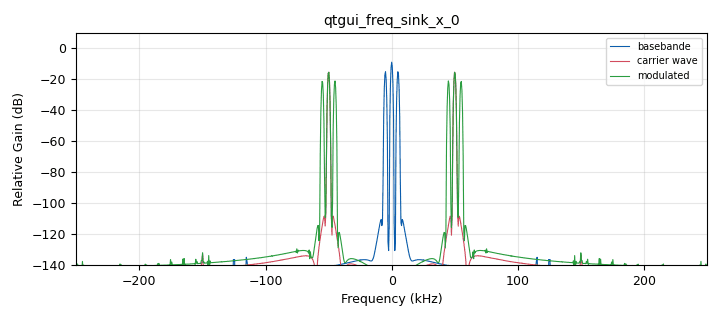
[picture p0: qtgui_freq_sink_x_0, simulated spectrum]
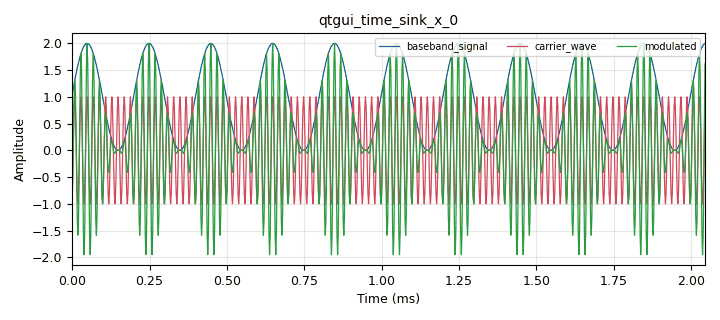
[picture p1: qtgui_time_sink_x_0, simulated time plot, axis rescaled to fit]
options:
  parameters:
    author: wcc
    generate_options: qt_gui
    id: lab1_am_dsb_tc
    output_language: python
    title: lab1_am_dsb_tc
  states: {}

blocks:
- name: bband_freq
  id: variable_qtgui_range
  parameters:
    label: baseband frequency
    orient: Qt.Horizontal
    start: '0'
    step: '1'
    stop: 15e3
    value: 5e3
  states: {}
- name: carrier_freq
  id: variable_qtgui_range
  parameters:
    label: carrier frequency
    orient: Qt.Horizontal
    rangeType: int
    start: '50000'
    step: '1'
    stop: '80000'
    value: '50000'
  states: {}
- name: samp_rate
  id: variable
  parameters:
    value: 500e3
  states: {}
- name: analog_sig_source_x_0
  id: analog_sig_source_x
  parameters:
    amp: '1'
    freq: bband_freq
    offset: '0'
    phase: '0'
    samp_rate: samp_rate
    type: float
    waveform: analog.GR_COS_WAVE
  states: {}
- name: analog_sig_source_x_1
  id: analog_sig_source_x
  parameters:
    amp: '1'
    freq: carrier_freq
    offset: '0'
    phase: '0'
    samp_rate: samp_rate
    type: float
    waveform: analog.GR_COS_WAVE
  states: {}
- name: blocks_add_const_vxx_0
  id: blocks_add_const_vxx
  parameters:
    const: '1'
    type: float
  states: {}
- name: blocks_multiply_xx_0
  id: blocks_multiply_xx
  parameters:
    type: float
  states: {}
- name: blocks_throttle_0
  id: blocks_throttle
  parameters:
    samples_per_second: samp_rate
    type: float
  states: {}
- name: qtgui_freq_sink_x_0
  id: qtgui_freq_sink_x
  parameters:
    bw: samp_rate
    fc: '0'
    fftsize: '1024'
    label1: basebande
    label2: carrier wave
    label3: modulated
    nconnections: '3'
    type: float
    wintype: firdes.WIN_BLACKMAN_hARRIS
  states: {}
- name: qtgui_time_sink_x_0
  id: qtgui_time_sink_x
  parameters:
    color2: green
    color3: black
    label1: baseband_signal
    label2: carrier_wave
    label3: modulated
    nconnections: '3'
    size: '1024'
    srate: samp_rate
    style2: '2'
    type: float
  states: {}

connections:
- [analog_sig_source_x_0, '0', blocks_add_const_vxx_0, '0']
- [analog_sig_source_x_1, '0', blocks_multiply_xx_0, '1']
- [analog_sig_source_x_1, '0', qtgui_freq_sink_x_0, '1']
- [analog_sig_source_x_1, '0', qtgui_time_sink_x_0, '1']
- [blocks_add_const_vxx_0, '0', blocks_multiply_xx_0, '0']
- [blocks_add_const_vxx_0, '0', qtgui_freq_sink_x_0, '0']
- [blocks_add_const_vxx_0, '0', qtgui_time_sink_x_0, '0']
- [blocks_multiply_xx_0, '0', blocks_throttle_0, '0']
- [blocks_throttle_0, '0', qtgui_freq_sink_x_0, '2']
- [blocks_throttle_0, '0', qtgui_time_sink_x_0, '2']

metadata:
  file_format: 1
